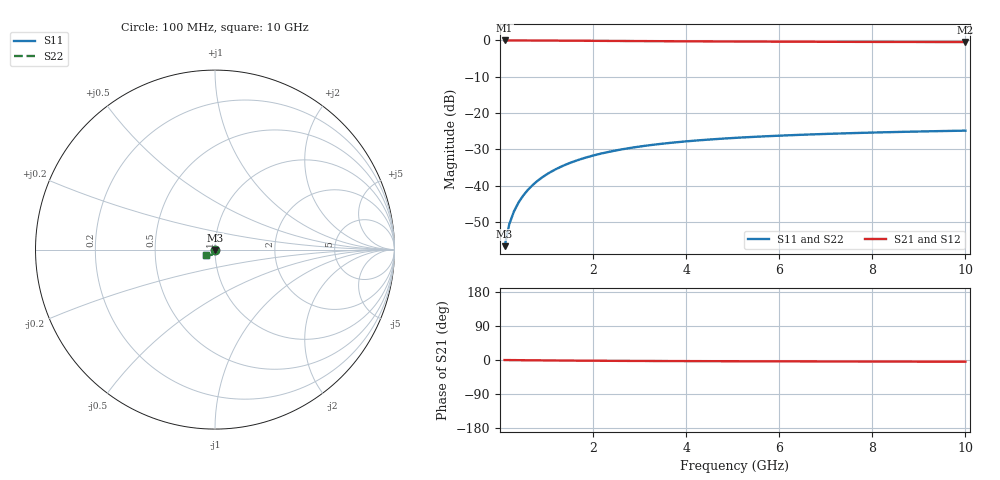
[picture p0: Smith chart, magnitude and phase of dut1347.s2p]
! Touchstone file exported from HFSS 2024.1.0
!  File:  C:/UserFiles/LocalFiles/RDL_TSV_Batchsim/temp_TSV1_1347_1780377032.aedt
!  Generated:  01:15:48 PM Jun  2, 2026
!  Design:  TSV1
!  Project:  temp_TSV1_1347_1780377032
!  Setup:  Setup1
!  Solution:  Sweep
! Variables:
!  dtsv = 13.47um
!  hbump = 3um
!  htsv = 67.04um
!  lrdl = 252.1521522um
!  p = 40
!  p1 = 41.32um
!  t = 500um
!  trdl = 3um
!  wrdl = 24.89489489um
# GHz S MA R 50.000000
! Terminal data exported
! Port[1] = TSV22_T1
! Port[2] = TSV22_T2
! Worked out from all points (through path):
!   100 points, 100 MHz to 10 GHz, reference 50 ohm
!   highest |S21| = 0.00 dB at 100 MHz (marker M1); lowest = -0.4 dB at 10 GHz (marker M2)
!   lowest |S11| = -56.7 dB at 100 MHz (marker M3), VSWR 1.00, Z = 50 - j0.147 ohm
!   |S11| at or under -10 dB: start of sweep to end of sweep
!   |S22| runs from -56.7 to -24.8 dB; largest |S21 - S12| = 3.2e-15
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0.1  0.001466 -88.2  0.9999 -0.1  0.9999 -0.1  0.001466 -88.2
! Gamma 0 0 0 0
! Port Impedance 50 0 50 0
0.2  0.002937 -91.5  0.9998 -0.2  0.9998 -0.2  0.002937 -91.5
0.3  0.004407 -93.5  0.9996 -0.3  0.9996 -0.3  0.004407 -93.5
0.4  0.005867 -95.1  0.9993 -0.5  0.9993 -0.5  0.005867 -95.1
0.5  0.007313 -96.7  0.999 -0.6  0.999 -0.6  0.007313 -96.7
0.6  0.008743 -98.2  0.9986 -0.7  0.9986 -0.7  0.008743 -98.2
0.7  0.01015 -99.6  0.9981 -0.8  0.9981 -0.8  0.01015 -99.6
0.8  0.01154 -101.0  0.9976 -0.9  0.9976 -0.9  0.01154 -101.0
0.9  0.01291 -102.4  0.997 -1.0  0.997 -1.0  0.01291 -102.4
1.1  0.01556 -105.1  0.9957 -1.2  0.9957 -1.2  0.01556 -105.1
1.4  0.01931 -108.9  0.9935 -1.5  0.9935 -1.5  0.01931 -108.9
1.6  0.02166 -111.3  0.9919 -1.6  0.9919 -1.6  0.02166 -111.3
1.8  0.02387 -113.6  0.9902 -1.8  0.9902 -1.8  0.02387 -113.6
2.1  0.02695 -116.9  0.9877 -2.0  0.9877 -2.0  0.02695 -116.9
2.5  0.03061 -120.7  0.9843 -2.2  0.9843 -2.2  0.03061 -120.7
2.9  0.03381 -124.2  0.981 -2.5  0.981 -2.5  0.03381 -124.2
3.4  0.03725 -127.9  0.9772 -2.7  0.9772 -2.7  0.03725 -127.9
4.2  0.04173 -132.9  0.9718 -3.0  0.9718 -3.0  0.04173 -132.9
5.1  0.04566 -137.3  0.9666 -3.3  0.9666 -3.3  0.04567 -137.3
6.7  0.05078 -143.1  0.9596 -3.7  0.9596 -3.7  0.05079 -143.1
8.4  0.0546 -147.4  0.9542 -4.2  0.9542 -4.2  0.0546 -147.4
10  0.05722 -150.5  0.9505 -4.6  0.9505 -4.6  0.05722 -150.5
